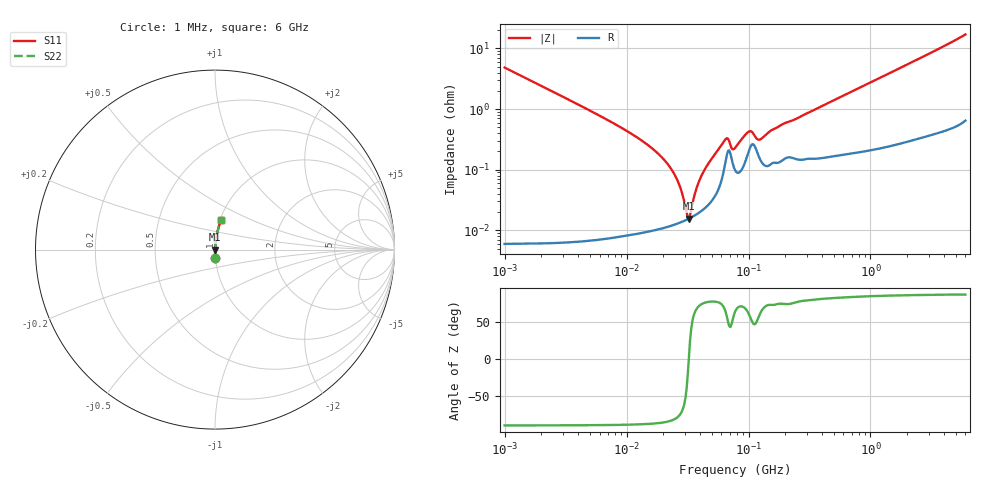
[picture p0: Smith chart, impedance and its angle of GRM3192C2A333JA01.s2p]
!Murata Part Number: GRM3192C2A333JA01
!These Parameters are Measured in Series Mode Connection
!Data Generated on Mar 30, 2021
!  o--ll--o
!Port1  Port2
!  o------o
!Operation Temp=25[degC], DC Bias Voltage=0[V]
!Freq. Start=1000[kHz] Stop=6[GHz] 401[Steps]
# Hz S RI R 50
!Freq.(Hz) S11(Real) S11(Imag) S21(Real) S21(Imag) S12(Real) S12(Imag) S22(Real) S22(Imag)
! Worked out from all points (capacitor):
!   401 points, 1 MHz to 6 GHz, reference 50 ohm
!   read as one part in series: C = 32.8 nF near 1.044 MHz
!   lowest |Z| = 15.6 mohm at 32.45 MHz (marker M1)
!   series resonance near 32.35 MHz, so ESL is about 740 pH
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1000000  0.0024 -0.0483  0.9976 0.0483  0.9976 0.0483  0.0024 -0.0483
4293785  0.000188 -0.0111  0.9998 0.0111  0.9998 0.0111  0.000188 -0.0111
1.093935e7  9.94e-05 -0.00392  0.9999 0.00392  0.9999 0.00392  9.94e-05 -0.00392
1.843659e7  0.000107 -0.00178  0.9999 0.00178  0.9999 0.00178  0.000107 -0.00178
2.242276e7  0.000117 -0.00113  0.9999 0.00113  0.9999 0.00113  0.000117 -0.00113
2.554826e7  0.000128 -0.000724  0.9999 0.000724  0.9999 0.000724  0.000128 -0.000724
2.787038e7  0.000136 -0.000456  0.9999 0.000456  0.9999 0.000456  0.000136 -0.000456
3.107204e7  0.000149 -0.000124  0.9999 0.000124  0.9999 0.000124  0.000149 -0.000124
3.245342e7  0.000156 9.5e-06  0.9998 -9.5e-06  0.9998 -9.5e-06  0.000156 9.5e-06
3.389622e7  0.000163 0.000144  0.9998 -0.000144  0.9998 -0.000144  0.000163 0.000144
3.697709e7  0.000181 0.000418  0.9998 -0.000418  0.9998 -0.000418  0.000181 0.000418
3.947016e7  0.000197 0.00063  0.9998 -0.00063  0.9998 -0.00063  0.000197 0.00063
4.800399e7  0.000279 0.00133  0.9997 -0.00133  0.9997 -0.00133  0.000279 0.00133
6.508975e7  0.00143 0.00287  0.9986 -0.00287  0.9986 -0.00287  0.00143 0.00287
7.416259e7  0.00128 0.00174  0.9987 -0.00174  0.9987 -0.00174  0.00128 0.00174
7.745967e7  0.000989 0.00205  0.999 -0.00205  0.999 -0.00205  0.000989 0.00205
1.005588e8  0.00204 0.00372  0.998 -0.00372  0.998 -0.00372  0.00204 0.00372
1.249896e8  0.00146 0.00281  0.9985 -0.00281  0.9985 -0.00281  0.00146 0.00281
1.848803e8  0.0014 0.00527  0.9986 -0.00527  0.9986 -0.00527  0.0014 0.00527
3.325952e8  0.0016 0.00919  0.9984 -0.00919  0.9984 -0.00919  0.0016 0.00919
1.428092e9  0.00392 0.0387  0.9961 -0.0387  0.9961 -0.0387  0.00392 0.0387
6e9  0.034 0.1632  0.966 -0.1632  0.966 -0.1632  0.034 0.1632
